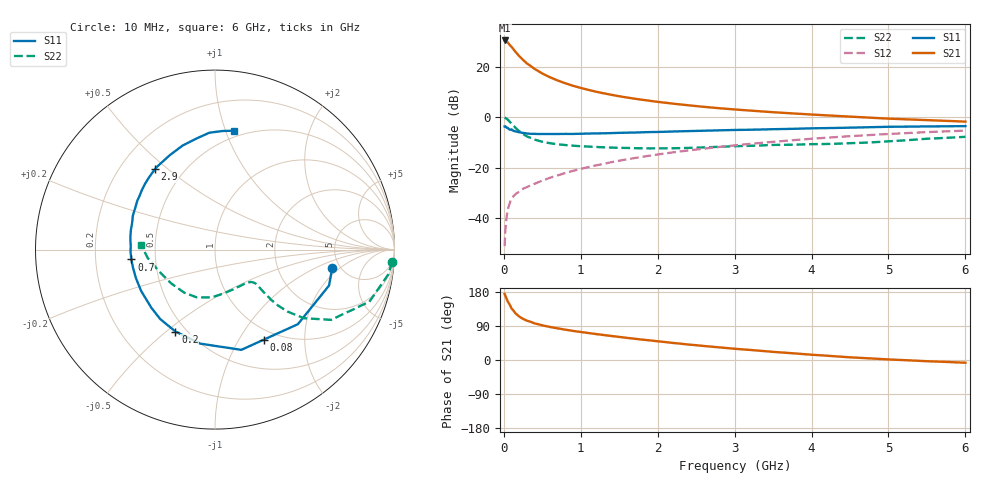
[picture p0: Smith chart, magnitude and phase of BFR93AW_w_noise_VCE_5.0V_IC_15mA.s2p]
! Infineon Technologies  Discrete & RF Semiconductors
! BFR93AW
! VCE =  5.0 V,  IC =  15 mA
! Common Emitter S-Parameters:  Jan 2017
# GHz  S  MA  R  50
!  f  S11  S21  S12  S22
! GHz  MAG  ANG  MAG  ANG  MAG  ANG  MAG  ANG
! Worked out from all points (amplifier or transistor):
!   77 points, 10 MHz to 6 GHz, reference 50 ohm
!   highest |S21| = 30.5 dB at 10 MHz (marker M1)
!   |S21| within 3 dB of that: start of sweep to 112.5 MHz
!   unconditionally stable (mu >= 1): 758.9 MHz to 2.075 GHz
!   at 130 MHz: K = 0.38, MSG = 29.0 dB, |S12| = -31.1 dB
!   at 2.2 GHz: K = 0.99, MSG = 9.7 dB, |S12| = -13.9 dB
!   at 6 GHz: K = 0.87, MSG = 1.8 dB, |S12| = -5.2 dB
!   lowest NFmin = 1.37 dB at 450 MHz
!   S11 on the Smith chart (normalised r, x): 10 MHz: 4.29, -1.58; 80 MHz: 0.86, -1.28; 200 MHz: 0.44, -0.54; 700 MHz: 0.36, -0.05; 2.9 GHz: 0.35, +0.45; 6 GHz: 0.45, +1.07
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0.01  0.6612 -9.0  33.52 174.4  0.0028 86.1  0.9891 -4.0
0.02  0.6662 -17.5  33.43 169.5  0.0059 85.5  0.9758 -8.1
0.05  0.6212 -42.0  30.74 154.8  0.0145 71.8  0.9075 -18.7
0.08  0.5707 -61.5  26.98 144.5  0.0206 66.4  0.8117 -25.6
0.1  0.5775 -75.3  25.07 136.1  0.0247 64.3  0.7558 -31.2
0.15  0.5303 -98.9  20.09 123.5  0.0301 56.6  0.6248 -37.7
0.2  0.5069 -115.8  16.4 114.8  0.0337 55.6  0.5315 -40.5
0.25  0.4928 -128.3  13.76 108.4  0.0385 54.2  0.4675 -41.6
0.3  0.4802 -137.7  11.75 103.8  0.0416 55.5  0.4202 -41.8
0.4  0.4717 -150.7  9.129 96.6  0.0484 57.9  0.3632 -41.2
0.5  0.4683 -160.3  7.406 91.5  0.0557 59.7  0.3285 -40.5
0.6  0.4679 -167.6  6.246 87.1  0.0636 61.2  0.3076 -40.0
0.7  0.4692 -173.3  5.39 83.5  0.0707 63.3  0.2931 -39.9
0.9  0.4701 177.5  4.231 76.8  0.0872 65.2  0.2748 -41.3
1.1  0.4783 169.8  3.507 71.2  0.1037 66.3  0.2639 -43.6
1.5  0.4946 157.9  2.627 60.9  0.1387 66.3  0.2491 -51.6
2.1  0.5194 143.1  1.952 47.3  0.1934 63.9  0.2438 -69.1
2.9  0.5583 126.8  1.478 31.5  0.2691 58.1  0.2647 -94.1
3.1  0.5663 123.0  1.401 28.1  0.2885 56.2  0.2704 -100.0
4.1  0.6102 105.7  1.118 12.6  0.3864 46.4  0.2955 -129.0
5.1  0.6534 91.5  0.932 0.6  0.4771 35.1  0.3422 -162.1
6  0.6715 80.7  0.825 -7.2  0.5472 24.7  0.4124 176.4
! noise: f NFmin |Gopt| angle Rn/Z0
0.45  1.37  0.12  133  0.13
0.9  1.66  0.23  164  0.14
1.9  2.67  0.47  -144  0.2
2.4  3.3  0.54  -129  0.4
